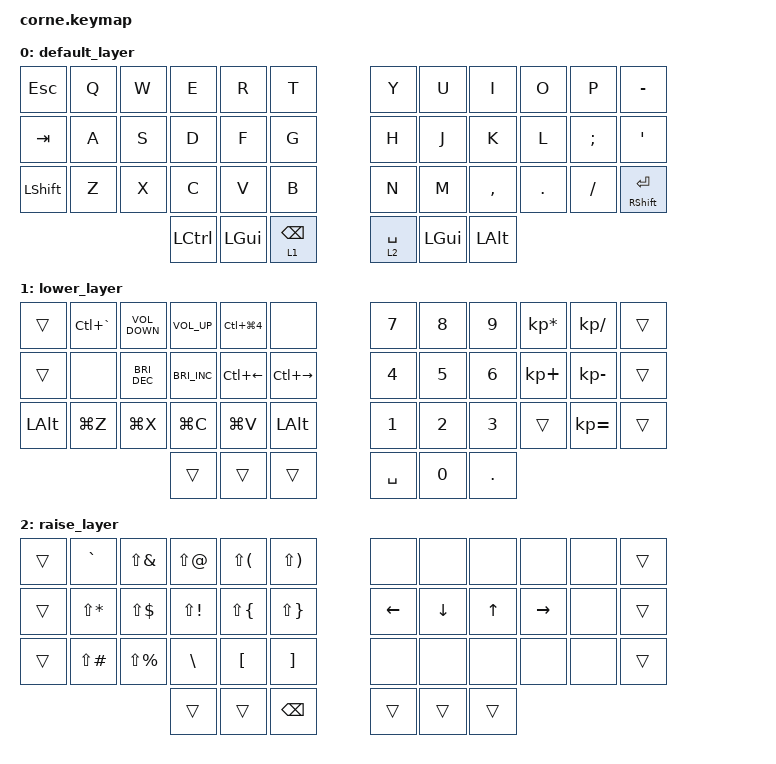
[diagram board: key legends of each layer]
/*
 * Copyright (c) 2020 The ZMK Contributors
 *
 * SPDX-License-Identifier: MIT
 */

#include <behaviors.dtsi>
#include <dt-bindings/zmk/keys.h>

/ {
    keymap {
        compatible = "zmk,keymap";

        default_layer {
            // -----------------------------------------------------------------------------------------
            // |  TAB |  Q  |  W  |  E  |  R  |  T  |   |  Y  |  U   |  I  |  O  |  P  | BKSP |
            // | CTRL |  A  |  S  |  D  |  F  |  G  |   |  H  |  J   |  K  |  L  |  ;  |  '   |
            // | SHFT |  Z  |  X  |  C  |  V  |  B  |   |  N  |  M   |  ,  |  .  |  /  | ESC  |
            //                    | GUI | LWR | SPC |   | ENT | RSE  | ALT |

            bindings = <
&kp ESC    &kp Q  &kp W  &kp E      &kp R     &kp T              &kp Y        &kp U     &kp I      &kp O    &kp P     &kp MINUS
&kp TAB    &kp A  &kp S  &kp D      &kp F     &kp G              &kp H        &kp J     &kp K      &kp L    &kp SEMI  &kp SQT
&kp LSHFT  &kp Z  &kp X  &kp C      &kp V     &kp B              &kp N        &kp M     &kp COMMA  &kp DOT  &kp FSLH  &mt RIGHT_SHIFT ENTER
                         &kp LCTRL  &kp LGUI  &lt 1 BACKSPACE    &lt 2 SPACE  &kp LGUI  &kp LALT
            >;
        };

        lower_layer {
            // -----------------------------------------------------------------------------------------
            // |  TAB |  1  |  2  |  3  |  4  |  5  |   |  6  |  7  |  8  |  9  |  0  | BKSP |
            // | BTCLR| BT1 | BT2 | BT3 | BT4 | BT5 |   | LFT | DWN |  UP | RGT |     |      |
            // | SHFT |     |     |     |     |     |   |     |     |     |     |     |      |
            //                    | GUI |     | SPC |   | ENT |     | ALT |

            bindings = <
&trans        &kp LC(GRAVE)  &kp C_VOLUME_DOWN     &kp C_VOLUME_UP       &kp LC(LG(NUMBER_4))  &none                  &kp N7     &kp N8  &kp N9      &kp KP_MULTIPLY  &kp KP_DIVIDE    &trans
&trans        &none          &kp C_BRIGHTNESS_DEC  &kp C_BRIGHTNESS_INC  &kp LC(LEFT_ARROW)    &kp LC(RIGHT_ARROW)    &kp N4     &kp N5  &kp N6      &kp KP_PLUS      &kp KP_SUBTRACT  &trans
&kp LEFT_ALT  &kp LG(Z)      &kp LG(X)             &kp LG(C)             &kp LG(V)             &kp LALT               &kp N1     &kp N2  &kp N3      &trans           &kp KP_EQUAL     &trans
                                                   &trans                &trans                &trans                 &kp SPACE  &kp N0  &kp PERIOD
            >;
        };

        raise_layer {
            // -----------------------------------------------------------------------------------------
            // |  TAB |  !  |  @  |  #  |  $  |  %  |   |  ^  |  &  |  *  |  (  |  )  | BKSP |
            // | CTRL |     |     |     |     |     |   |  -  |  =  |  [  |  ]  |  \  |  `   |
            // | SHFT |     |     |     |     |     |   |  _  |  +  |  {  |  }  | "|" |  ~   |
            //                    | GUI |     | SPC |   | ENT |     | ALT |

            bindings = <
&trans  &kp GRAVE      &kp LS(AMPS)   &kp LS(AT)    &kp LS(LPAR)  &kp LS(RPAR)     &none     &none     &none   &none      &none  &trans
&trans  &kp LS(STAR)   &kp LS(DLLR)   &kp LS(EXCL)  &kp LS(LBRC)  &kp LS(RBRC)     &kp LEFT  &kp DOWN  &kp UP  &kp RIGHT  &none  &trans
&trans  &kp LS(POUND)  &kp LS(PRCNT)  &kp BSLH      &kp LBKT      &kp RBKT         &none     &none     &none   &none      &none  &trans
                                      &trans        &trans        &kp BACKSPACE    &trans    &trans    &trans
            >;
        };
    };
};
